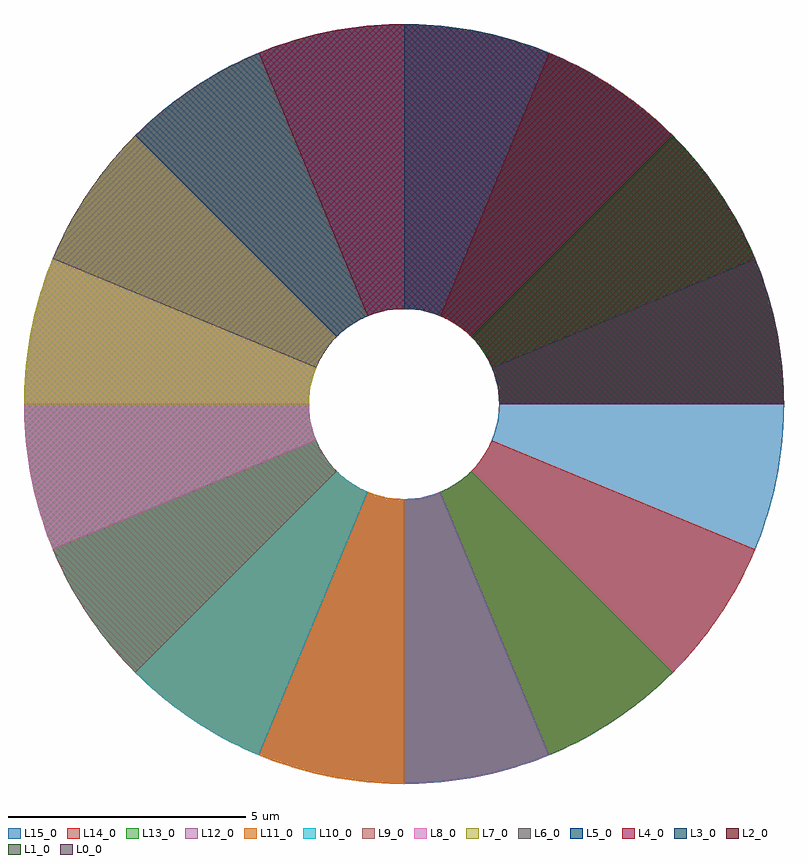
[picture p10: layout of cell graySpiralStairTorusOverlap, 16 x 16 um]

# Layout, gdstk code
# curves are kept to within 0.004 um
import gdstk
lib = gdstk.Library(unit=1e-6, precision=1e-09)
def P(c, l, *ps):  # polygons
    for p in ps: c.add(gdstk.Polygon(p, *l))
L0_0 = (0, 0)
L1_0 = (1, 0)
L2_0 = (2, 0)
L3_0 = (3, 0)
L4_0 = (4, 0)
L5_0 = (5, 0)
L6_0 = (6, 0)
L7_0 = (7, 0)
L8_0 = (8, 0)
L9_0 = (9, 0)
L10_0 = (10, 0)
L11_0 = (11, 0)
L12_0 = (12, 0)
L13_0 = (13, 0)
L14_0 = (14, 0)
L15_0 = (15, 0)

grayspiralstairtorusover = lib.new_cell('graySpiralStairTorusOverlap')
P(grayspiralstairtorusover, L0_0, [(2,0),(1.994,0.157),(1.962,0.39),(1.914,0.581),(1.848,0.765),(7.391,3.061),(7.506,2.769),(7.656,2.322),(7.779,1.868),(7.846,1.561),(7.925,1.096),(7.961,0.784),(7.994,0.314),(8,0)])
P(grayspiralstairtorusover, L1_0, [(2,0),(1.994,0.157),(1.962,0.39),(1.914,0.581),(1.848,0.765),(7.391,3.061),(7.506,2.769),(7.656,2.322),(7.779,1.868),(7.846,1.561),(7.925,1.096),(7.961,0.784),(7.994,0.314),(8,0)],
  [(1.848,0.765),(1.764,0.943),(1.641,1.144),(1.521,1.299),(1.414,1.414),(5.657,5.657),(5.875,5.43),(6.184,5.075),(6.379,4.828),(6.652,4.445),(6.902,4.045),(7.055,3.771),(7.198,3.491),(7.391,3.061)])
P(grayspiralstairtorusover, L2_0, [(2,0),(1.994,0.157),(1.962,0.39),(1.914,0.581),(1.848,0.765),(7.391,3.061),(7.506,2.769),(7.656,2.322),(7.779,1.868),(7.846,1.561),(7.925,1.096),(7.961,0.784),(7.994,0.314),(8,0)],
  [(1.848,0.765),(1.764,0.943),(1.641,1.144),(1.521,1.299),(1.414,1.414),(5.657,5.657),(5.875,5.43),(6.184,5.075),(6.379,4.828),(6.652,4.445),(6.902,4.045),(7.055,3.771),(7.198,3.491),(7.391,3.061)],
  [(1.414,1.414),(1.299,1.521),(1.144,1.641),(0.943,1.764),(0.765,1.848),(3.061,7.391),(3.491,7.198),(3.771,7.055),(4.045,6.902),(4.445,6.652),(4.828,6.379),(5.075,6.184),(5.43,5.875),(5.657,5.657)])
P(grayspiralstairtorusover, L3_0, [(2,0),(1.994,0.157),(1.962,0.39),(1.914,0.581),(1.848,0.765),(7.391,3.061),(7.506,2.769),(7.656,2.322),(7.779,1.868),(7.846,1.561),(7.925,1.096),(7.961,0.784),(7.994,0.314),(8,0)],
  [(1.848,0.765),(1.764,0.943),(1.641,1.144),(1.521,1.299),(1.414,1.414),(5.657,5.657),(5.875,5.43),(6.184,5.075),(6.379,4.828),(6.652,4.445),(6.902,4.045),(7.055,3.771),(7.198,3.491),(7.391,3.061)],
  [(1.414,1.414),(1.299,1.521),(1.144,1.641),(0.943,1.764),(0.765,1.848),(3.061,7.391),(3.491,7.198),(3.771,7.055),(4.045,6.902),(4.445,6.652),(4.828,6.379),(5.075,6.184),(5.43,5.875),(5.657,5.657)],
  [(0.765,1.848),(0.581,1.914),(0.39,1.962),(0.157,1.994),(0,2),(0,8),(0.314,7.994),(0.784,7.961),(1.096,7.925),(1.561,7.846),(1.868,7.779),(2.322,7.656),(2.769,7.506),(3.061,7.391)])
P(grayspiralstairtorusover, L4_0, [(2,0),(1.994,0.157),(1.962,0.39),(1.914,0.581),(1.848,0.765),(7.391,3.061),(7.506,2.769),(7.656,2.322),(7.779,1.868),(7.846,1.561),(7.925,1.096),(7.961,0.784),(7.994,0.314),(8,0)],
  [(1.848,0.765),(1.764,0.943),(1.641,1.144),(1.521,1.299),(1.414,1.414),(5.657,5.657),(5.875,5.43),(6.184,5.075),(6.379,4.828),(6.652,4.445),(6.902,4.045),(7.055,3.771),(7.198,3.491),(7.391,3.061)],
  [(1.414,1.414),(1.299,1.521),(1.144,1.641),(0.943,1.764),(0.765,1.848),(3.061,7.391),(3.491,7.198),(3.771,7.055),(4.045,6.902),(4.445,6.652),(4.828,6.379),(5.075,6.184),(5.43,5.875),(5.657,5.657)],
  [(0.765,1.848),(0.581,1.914),(0.39,1.962),(0.157,1.994),(0,2),(0,8),(0.314,7.994),(0.784,7.961),(1.096,7.925),(1.561,7.846),(1.868,7.779),(2.322,7.656),(2.769,7.506),(3.061,7.391)],
  [(-0.765,1.848),(-3.061,7.391),(-2.769,7.506),(-2.322,7.656),(-1.868,7.779),(-1.561,7.846),(-1.096,7.925),(-0.784,7.961),(-0.314,7.994),(0,8),(0,2),(-0.157,1.994),(-0.39,1.962),(-0.581,1.914)])
P(grayspiralstairtorusover, L5_0, [(2,0),(1.994,0.157),(1.962,0.39),(1.914,0.581),(1.848,0.765),(7.391,3.061),(7.506,2.769),(7.656,2.322),(7.779,1.868),(7.846,1.561),(7.925,1.096),(7.961,0.784),(7.994,0.314),(8,0)],
  [(1.848,0.765),(1.764,0.943),(1.641,1.144),(1.521,1.299),(1.414,1.414),(5.657,5.657),(5.875,5.43),(6.184,5.075),(6.379,4.828),(6.652,4.445),(6.902,4.045),(7.055,3.771),(7.198,3.491),(7.391,3.061)],
  [(1.414,1.414),(1.299,1.521),(1.144,1.641),(0.943,1.764),(0.765,1.848),(3.061,7.391),(3.491,7.198),(3.771,7.055),(4.045,6.902),(4.445,6.652),(4.828,6.379),(5.075,6.184),(5.43,5.875),(5.657,5.657)],
  [(0.765,1.848),(0.581,1.914),(0.39,1.962),(0.157,1.994),(0,2),(0,8),(0.314,7.994),(0.784,7.961),(1.096,7.925),(1.561,7.846),(1.868,7.779),(2.322,7.656),(2.769,7.506),(3.061,7.391)],
  [(-0.765,1.848),(-3.061,7.391),(-2.769,7.506),(-2.322,7.656),(-1.868,7.779),(-1.561,7.846),(-1.096,7.925),(-0.784,7.961),(-0.314,7.994),(0,8),(0,2),(-0.157,1.994),(-0.39,1.962),(-0.581,1.914)],
  [(-1.414,1.414),(-5.657,5.657),(-5.43,5.875),(-5.075,6.184),(-4.828,6.379),(-4.445,6.652),(-4.045,6.902),(-3.771,7.055),(-3.491,7.198),(-3.061,7.391),(-0.765,1.848),(-0.943,1.764),(-1.144,1.641),(-1.299,1.521)])
P(grayspiralstairtorusover, L6_0, [(2,0),(1.994,0.157),(1.962,0.39),(1.914,0.581),(1.848,0.765),(7.391,3.061),(7.506,2.769),(7.656,2.322),(7.779,1.868),(7.846,1.561),(7.925,1.096),(7.961,0.784),(7.994,0.314),(8,0)],
  [(1.848,0.765),(1.764,0.943),(1.641,1.144),(1.521,1.299),(1.414,1.414),(5.657,5.657),(5.875,5.43),(6.184,5.075),(6.379,4.828),(6.652,4.445),(6.902,4.045),(7.055,3.771),(7.198,3.491),(7.391,3.061)],
  [(1.414,1.414),(1.299,1.521),(1.144,1.641),(0.943,1.764),(0.765,1.848),(3.061,7.391),(3.491,7.198),(3.771,7.055),(4.045,6.902),(4.445,6.652),(4.828,6.379),(5.075,6.184),(5.43,5.875),(5.657,5.657)],
  [(0.765,1.848),(0.581,1.914),(0.39,1.962),(0.157,1.994),(0,2),(0,8),(0.314,7.994),(0.784,7.961),(1.096,7.925),(1.561,7.846),(1.868,7.779),(2.322,7.656),(2.769,7.506),(3.061,7.391)],
  [(-0.765,1.848),(-3.061,7.391),(-2.769,7.506),(-2.322,7.656),(-1.868,7.779),(-1.561,7.846),(-1.096,7.925),(-0.784,7.961),(-0.314,7.994),(0,8),(0,2),(-0.157,1.994),(-0.39,1.962),(-0.581,1.914)],
  [(-1.414,1.414),(-5.657,5.657),(-5.43,5.875),(-5.075,6.184),(-4.828,6.379),(-4.445,6.652),(-4.045,6.902),(-3.771,7.055),(-3.491,7.198),(-3.061,7.391),(-0.765,1.848),(-0.943,1.764),(-1.144,1.641),(-1.299,1.521)],
  [(-1.848,0.765),(-7.391,3.061),(-7.198,3.491),(-7.055,3.771),(-6.902,4.045),(-6.652,4.445),(-6.379,4.828),(-6.184,5.075),(-5.875,5.43),(-5.657,5.657),(-1.414,1.414),(-1.521,1.299),(-1.641,1.144),(-1.764,0.943)])
P(grayspiralstairtorusover, L7_0, [(2,0),(1.994,0.157),(1.962,0.39),(1.914,0.581),(1.848,0.765),(7.391,3.061),(7.506,2.769),(7.656,2.322),(7.779,1.868),(7.846,1.561),(7.925,1.096),(7.961,0.784),(7.994,0.314),(8,0)],
  [(1.848,0.765),(1.764,0.943),(1.641,1.144),(1.521,1.299),(1.414,1.414),(5.657,5.657),(5.875,5.43),(6.184,5.075),(6.379,4.828),(6.652,4.445),(6.902,4.045),(7.055,3.771),(7.198,3.491),(7.391,3.061)],
  [(1.414,1.414),(1.299,1.521),(1.144,1.641),(0.943,1.764),(0.765,1.848),(3.061,7.391),(3.491,7.198),(3.771,7.055),(4.045,6.902),(4.445,6.652),(4.828,6.379),(5.075,6.184),(5.43,5.875),(5.657,5.657)],
  [(0.765,1.848),(0.581,1.914),(0.39,1.962),(0.157,1.994),(0,2),(0,8),(0.314,7.994),(0.784,7.961),(1.096,7.925),(1.561,7.846),(1.868,7.779),(2.322,7.656),(2.769,7.506),(3.061,7.391)],
  [(-0.765,1.848),(-3.061,7.391),(-2.769,7.506),(-2.322,7.656),(-1.868,7.779),(-1.561,7.846),(-1.096,7.925),(-0.784,7.961),(-0.314,7.994),(0,8),(0,2),(-0.157,1.994),(-0.39,1.962),(-0.581,1.914)],
  [(-1.414,1.414),(-5.657,5.657),(-5.43,5.875),(-5.075,6.184),(-4.828,6.379),(-4.445,6.652),(-4.045,6.902),(-3.771,7.055),(-3.491,7.198),(-3.061,7.391),(-0.765,1.848),(-0.943,1.764),(-1.144,1.641),(-1.299,1.521)],
  [(-1.848,0.765),(-7.391,3.061),(-7.198,3.491),(-7.055,3.771),(-6.902,4.045),(-6.652,4.445),(-6.379,4.828),(-6.184,5.075),(-5.875,5.43),(-5.657,5.657),(-1.414,1.414),(-1.521,1.299),(-1.641,1.144),(-1.764,0.943)],
  [(-2,0),(-8,0),(-7.994,0.314),(-7.961,0.784),(-7.925,1.096),(-7.846,1.561),(-7.779,1.868),(-7.656,2.322),(-7.506,2.769),(-7.391,3.061),(-1.848,0.765),(-1.914,0.581),(-1.962,0.39),(-1.994,0.157)])
P(grayspiralstairtorusover, L8_0, [(2,0),(1.994,0.157),(1.962,0.39),(1.914,0.581),(1.848,0.765),(7.391,3.061),(7.506,2.769),(7.656,2.322),(7.779,1.868),(7.846,1.561),(7.925,1.096),(7.961,0.784),(7.994,0.314),(8,0)],
  [(1.848,0.765),(1.764,0.943),(1.641,1.144),(1.521,1.299),(1.414,1.414),(5.657,5.657),(5.875,5.43),(6.184,5.075),(6.379,4.828),(6.652,4.445),(6.902,4.045),(7.055,3.771),(7.198,3.491),(7.391,3.061)],
  [(1.414,1.414),(1.299,1.521),(1.144,1.641),(0.943,1.764),(0.765,1.848),(3.061,7.391),(3.491,7.198),(3.771,7.055),(4.045,6.902),(4.445,6.652),(4.828,6.379),(5.075,6.184),(5.43,5.875),(5.657,5.657)],
  [(0.765,1.848),(0.581,1.914),(0.39,1.962),(0.157,1.994),(0,2),(0,8),(0.314,7.994),(0.784,7.961),(1.096,7.925),(1.561,7.846),(1.868,7.779),(2.322,7.656),(2.769,7.506),(3.061,7.391)],
  [(-0.765,1.848),(-3.061,7.391),(-2.769,7.506),(-2.322,7.656),(-1.868,7.779),(-1.561,7.846),(-1.096,7.925),(-0.784,7.961),(-0.314,7.994),(0,8),(0,2),(-0.157,1.994),(-0.39,1.962),(-0.581,1.914)],
  [(-1.414,1.414),(-5.657,5.657),(-5.43,5.875),(-5.075,6.184),(-4.828,6.379),(-4.445,6.652),(-4.045,6.902),(-3.771,7.055),(-3.491,7.198),(-3.061,7.391),(-0.765,1.848),(-0.943,1.764),(-1.144,1.641),(-1.299,1.521)],
  [(-1.848,0.765),(-7.391,3.061),(-7.198,3.491),(-7.055,3.771),(-6.902,4.045),(-6.652,4.445),(-6.379,4.828),(-6.184,5.075),(-5.875,5.43),(-5.657,5.657),(-1.414,1.414),(-1.521,1.299),(-1.641,1.144),(-1.764,0.943)],
  [(-2,0),(-8,0),(-7.994,0.314),(-7.961,0.784),(-7.925,1.096),(-7.846,1.561),(-7.779,1.868),(-7.656,2.322),(-7.506,2.769),(-7.391,3.061),(-1.848,0.765),(-1.914,0.581),(-1.962,0.39),(-1.994,0.157)],
  [(-7.391,-3.061),(-7.506,-2.769),(-7.656,-2.322),(-7.779,-1.868),(-7.846,-1.561),(-7.925,-1.096),(-7.961,-0.784),(-7.994,-0.314),(-8,0),(-2,0),(-1.994,-0.157),(-1.962,-0.39),(-1.914,-0.581),(-1.848,-0.765)])
P(grayspiralstairtorusover, L9_0, [(2,0),(1.994,0.157),(1.962,0.39),(1.914,0.581),(1.848,0.765),(7.391,3.061),(7.506,2.769),(7.656,2.322),(7.779,1.868),(7.846,1.561),(7.925,1.096),(7.961,0.784),(7.994,0.314),(8,0)],
  [(1.848,0.765),(1.764,0.943),(1.641,1.144),(1.521,1.299),(1.414,1.414),(5.657,5.657),(5.875,5.43),(6.184,5.075),(6.379,4.828),(6.652,4.445),(6.902,4.045),(7.055,3.771),(7.198,3.491),(7.391,3.061)],
  [(1.414,1.414),(1.299,1.521),(1.144,1.641),(0.943,1.764),(0.765,1.848),(3.061,7.391),(3.491,7.198),(3.771,7.055),(4.045,6.902),(4.445,6.652),(4.828,6.379),(5.075,6.184),(5.43,5.875),(5.657,5.657)],
  [(0.765,1.848),(0.581,1.914),(0.39,1.962),(0.157,1.994),(0,2),(0,8),(0.314,7.994),(0.784,7.961),(1.096,7.925),(1.561,7.846),(1.868,7.779),(2.322,7.656),(2.769,7.506),(3.061,7.391)],
  [(-0.765,1.848),(-3.061,7.391),(-2.769,7.506),(-2.322,7.656),(-1.868,7.779),(-1.561,7.846),(-1.096,7.925),(-0.784,7.961),(-0.314,7.994),(0,8),(0,2),(-0.157,1.994),(-0.39,1.962),(-0.581,1.914)],
  [(-1.414,1.414),(-5.657,5.657),(-5.43,5.875),(-5.075,6.184),(-4.828,6.379),(-4.445,6.652),(-4.045,6.902),(-3.771,7.055),(-3.491,7.198),(-3.061,7.391),(-0.765,1.848),(-0.943,1.764),(-1.144,1.641),(-1.299,1.521)],
  [(-1.848,0.765),(-7.391,3.061),(-7.198,3.491),(-7.055,3.771),(-6.902,4.045),(-6.652,4.445),(-6.379,4.828),(-6.184,5.075),(-5.875,5.43),(-5.657,5.657),(-1.414,1.414),(-1.521,1.299),(-1.641,1.144),(-1.764,0.943)],
  [(-2,0),(-8,0),(-7.994,0.314),(-7.961,0.784),(-7.925,1.096),(-7.846,1.561),(-7.779,1.868),(-7.656,2.322),(-7.506,2.769),(-7.391,3.061),(-1.848,0.765),(-1.914,0.581),(-1.962,0.39),(-1.994,0.157)],
  [(-7.391,-3.061),(-7.506,-2.769),(-7.656,-2.322),(-7.779,-1.868),(-7.846,-1.561),(-7.925,-1.096),(-7.961,-0.784),(-7.994,-0.314),(-8,0),(-2,0),(-1.994,-0.157),(-1.962,-0.39),(-1.914,-0.581),(-1.848,-0.765)],
  [(-5.657,-5.657),(-5.875,-5.43),(-6.184,-5.075),(-6.379,-4.828),(-6.652,-4.445),(-6.902,-4.045),(-7.055,-3.771),(-7.198,-3.491),(-7.391,-3.061),(-1.848,-0.765),(-1.764,-0.943),(-1.641,-1.144),(-1.521,-1.299),(-1.414,-1.414)])
P(grayspiralstairtorusover, L10_0, [(2,0),(1.994,0.157),(1.962,0.39),(1.914,0.581),(1.848,0.765),(7.391,3.061),(7.506,2.769),(7.656,2.322),(7.779,1.868),(7.846,1.561),(7.925,1.096),(7.961,0.784),(7.994,0.314),(8,0)],
  [(1.848,0.765),(1.764,0.943),(1.641,1.144),(1.521,1.299),(1.414,1.414),(5.657,5.657),(5.875,5.43),(6.184,5.075),(6.379,4.828),(6.652,4.445),(6.902,4.045),(7.055,3.771),(7.198,3.491),(7.391,3.061)],
  [(1.414,1.414),(1.299,1.521),(1.144,1.641),(0.943,1.764),(0.765,1.848),(3.061,7.391),(3.491,7.198),(3.771,7.055),(4.045,6.902),(4.445,6.652),(4.828,6.379),(5.075,6.184),(5.43,5.875),(5.657,5.657)],
  [(0.765,1.848),(0.581,1.914),(0.39,1.962),(0.157,1.994),(0,2),(0,8),(0.314,7.994),(0.784,7.961),(1.096,7.925),(1.561,7.846),(1.868,7.779),(2.322,7.656),(2.769,7.506),(3.061,7.391)],
  [(-0.765,1.848),(-3.061,7.391),(-2.769,7.506),(-2.322,7.656),(-1.868,7.779),(-1.561,7.846),(-1.096,7.925),(-0.784,7.961),(-0.314,7.994),(0,8),(0,2),(-0.157,1.994),(-0.39,1.962),(-0.581,1.914)],
  [(-1.414,1.414),(-5.657,5.657),(-5.43,5.875),(-5.075,6.184),(-4.828,6.379),(-4.445,6.652),(-4.045,6.902),(-3.771,7.055),(-3.491,7.198),(-3.061,7.391),(-0.765,1.848),(-0.943,1.764),(-1.144,1.641),(-1.299,1.521)],
  [(-1.848,0.765),(-7.391,3.061),(-7.198,3.491),(-7.055,3.771),(-6.902,4.045),(-6.652,4.445),(-6.379,4.828),(-6.184,5.075),(-5.875,5.43),(-5.657,5.657),(-1.414,1.414),(-1.521,1.299),(-1.641,1.144),(-1.764,0.943)],
  [(-2,0),(-8,0),(-7.994,0.314),(-7.961,0.784),(-7.925,1.096),(-7.846,1.561),(-7.779,1.868),(-7.656,2.322),(-7.506,2.769),(-7.391,3.061),(-1.848,0.765),(-1.914,0.581),(-1.962,0.39),(-1.994,0.157)],
  [(-7.391,-3.061),(-7.506,-2.769),(-7.656,-2.322),(-7.779,-1.868),(-7.846,-1.561),(-7.925,-1.096),(-7.961,-0.784),(-7.994,-0.314),(-8,0),(-2,0),(-1.994,-0.157),(-1.962,-0.39),(-1.914,-0.581),(-1.848,-0.765)],
  [(-5.657,-5.657),(-5.875,-5.43),(-6.184,-5.075),(-6.379,-4.828),(-6.652,-4.445),(-6.902,-4.045),(-7.055,-3.771),(-7.198,-3.491),(-7.391,-3.061),(-1.848,-0.765),(-1.764,-0.943),(-1.641,-1.144),(-1.521,-1.299),(-1.414,-1.414)],
  [(-3.061,-7.391),(-3.491,-7.198),(-3.771,-7.055),(-4.045,-6.902),(-4.445,-6.652),(-4.828,-6.379),(-5.075,-6.184),(-5.43,-5.875),(-5.657,-5.657),(-1.414,-1.414),(-1.299,-1.521),(-1.144,-1.641),(-0.943,-1.764),(-0.765,-1.848)])
P(grayspiralstairtorusover, L11_0, [(2,0),(1.994,0.157),(1.962,0.39),(1.914,0.581),(1.848,0.765),(7.391,3.061),(7.506,2.769),(7.656,2.322),(7.779,1.868),(7.846,1.561),(7.925,1.096),(7.961,0.784),(7.994,0.314),(8,0)],
  [(1.848,0.765),(1.764,0.943),(1.641,1.144),(1.521,1.299),(1.414,1.414),(5.657,5.657),(5.875,5.43),(6.184,5.075),(6.379,4.828),(6.652,4.445),(6.902,4.045),(7.055,3.771),(7.198,3.491),(7.391,3.061)],
  [(1.414,1.414),(1.299,1.521),(1.144,1.641),(0.943,1.764),(0.765,1.848),(3.061,7.391),(3.491,7.198),(3.771,7.055),(4.045,6.902),(4.445,6.652),(4.828,6.379),(5.075,6.184),(5.43,5.875),(5.657,5.657)],
  [(0.765,1.848),(0.581,1.914),(0.39,1.962),(0.157,1.994),(0,2),(0,8),(0.314,7.994),(0.784,7.961),(1.096,7.925),(1.561,7.846),(1.868,7.779),(2.322,7.656),(2.769,7.506),(3.061,7.391)],
  [(-0.765,1.848),(-3.061,7.391),(-2.769,7.506),(-2.322,7.656),(-1.868,7.779),(-1.561,7.846),(-1.096,7.925),(-0.784,7.961),(-0.314,7.994),(0,8),(0,2),(-0.157,1.994),(-0.39,1.962),(-0.581,1.914)],
  [(-1.414,1.414),(-5.657,5.657),(-5.43,5.875),(-5.075,6.184),(-4.828,6.379),(-4.445,6.652),(-4.045,6.902),(-3.771,7.055),(-3.491,7.198),(-3.061,7.391),(-0.765,1.848),(-0.943,1.764),(-1.144,1.641),(-1.299,1.521)],
  [(-1.848,0.765),(-7.391,3.061),(-7.198,3.491),(-7.055,3.771),(-6.902,4.045),(-6.652,4.445),(-6.379,4.828),(-6.184,5.075),(-5.875,5.43),(-5.657,5.657),(-1.414,1.414),(-1.521,1.299),(-1.641,1.144),(-1.764,0.943)],
  [(-2,0),(-8,0),(-7.994,0.314),(-7.961,0.784),(-7.925,1.096),(-7.846,1.561),(-7.779,1.868),(-7.656,2.322),(-7.506,2.769),(-7.391,3.061),(-1.848,0.765),(-1.914,0.581),(-1.962,0.39),(-1.994,0.157)],
  [(-7.391,-3.061),(-7.506,-2.769),(-7.656,-2.322),(-7.779,-1.868),(-7.846,-1.561),(-7.925,-1.096),(-7.961,-0.784),(-7.994,-0.314),(-8,0),(-2,0),(-1.994,-0.157),(-1.962,-0.39),(-1.914,-0.581),(-1.848,-0.765)],
  [(-5.657,-5.657),(-5.875,-5.43),(-6.184,-5.075),(-6.379,-4.828),(-6.652,-4.445),(-6.902,-4.045),(-7.055,-3.771),(-7.198,-3.491),(-7.391,-3.061),(-1.848,-0.765),(-1.764,-0.943),(-1.641,-1.144),(-1.521,-1.299),(-1.414,-1.414)],
  [(-3.061,-7.391),(-3.491,-7.198),(-3.771,-7.055),(-4.045,-6.902),(-4.445,-6.652),(-4.828,-6.379),(-5.075,-6.184),(-5.43,-5.875),(-5.657,-5.657),(-1.414,-1.414),(-1.299,-1.521),(-1.144,-1.641),(-0.943,-1.764),(-0.765,-1.848)],
  [(0,-8),(-0.314,-7.994),(-0.784,-7.961),(-1.096,-7.925),(-1.561,-7.846),(-1.868,-7.779),(-2.322,-7.656),(-2.769,-7.506),(-3.061,-7.391),(-0.765,-1.848),(-0.581,-1.914),(-0.39,-1.962),(-0.157,-1.994),(0,-2)])
P(grayspiralstairtorusover, L12_0, [(2,0),(1.994,0.157),(1.962,0.39),(1.914,0.581),(1.848,0.765),(7.391,3.061),(7.506,2.769),(7.656,2.322),(7.779,1.868),(7.846,1.561),(7.925,1.096),(7.961,0.784),(7.994,0.314),(8,0)],
  [(1.848,0.765),(1.764,0.943),(1.641,1.144),(1.521,1.299),(1.414,1.414),(5.657,5.657),(5.875,5.43),(6.184,5.075),(6.379,4.828),(6.652,4.445),(6.902,4.045),(7.055,3.771),(7.198,3.491),(7.391,3.061)],
  [(1.414,1.414),(1.299,1.521),(1.144,1.641),(0.943,1.764),(0.765,1.848),(3.061,7.391),(3.491,7.198),(3.771,7.055),(4.045,6.902),(4.445,6.652),(4.828,6.379),(5.075,6.184),(5.43,5.875),(5.657,5.657)],
  [(0.765,1.848),(0.581,1.914),(0.39,1.962),(0.157,1.994),(0,2),(0,8),(0.314,7.994),(0.784,7.961),(1.096,7.925),(1.561,7.846),(1.868,7.779),(2.322,7.656),(2.769,7.506),(3.061,7.391)],
  [(-0.765,1.848),(-3.061,7.391),(-2.769,7.506),(-2.322,7.656),(-1.868,7.779),(-1.561,7.846),(-1.096,7.925),(-0.784,7.961),(-0.314,7.994),(0,8),(0,2),(-0.157,1.994),(-0.39,1.962),(-0.581,1.914)],
  [(-1.414,1.414),(-5.657,5.657),(-5.43,5.875),(-5.075,6.184),(-4.828,6.379),(-4.445,6.652),(-4.045,6.902),(-3.771,7.055),(-3.491,7.198),(-3.061,7.391),(-0.765,1.848),(-0.943,1.764),(-1.144,1.641),(-1.299,1.521)],
  [(-1.848,0.765),(-7.391,3.061),(-7.198,3.491),(-7.055,3.771),(-6.902,4.045),(-6.652,4.445),(-6.379,4.828),(-6.184,5.075),(-5.875,5.43),(-5.657,5.657),(-1.414,1.414),(-1.521,1.299),(-1.641,1.144),(-1.764,0.943)],
  [(-2,0),(-8,0),(-7.994,0.314),(-7.961,0.784),(-7.925,1.096),(-7.846,1.561),(-7.779,1.868),(-7.656,2.322),(-7.506,2.769),(-7.391,3.061),(-1.848,0.765),(-1.914,0.581),(-1.962,0.39),(-1.994,0.157)],
  [(-7.391,-3.061),(-7.506,-2.769),(-7.656,-2.322),(-7.779,-1.868),(-7.846,-1.561),(-7.925,-1.096),(-7.961,-0.784),(-7.994,-0.314),(-8,0),(-2,0),(-1.994,-0.157),(-1.962,-0.39),(-1.914,-0.581),(-1.848,-0.765)],
  [(-5.657,-5.657),(-5.875,-5.43),(-6.184,-5.075),(-6.379,-4.828),(-6.652,-4.445),(-6.902,-4.045),(-7.055,-3.771),(-7.198,-3.491),(-7.391,-3.061),(-1.848,-0.765),(-1.764,-0.943),(-1.641,-1.144),(-1.521,-1.299),(-1.414,-1.414)],
  [(-3.061,-7.391),(-3.491,-7.198),(-3.771,-7.055),(-4.045,-6.902),(-4.445,-6.652),(-4.828,-6.379),(-5.075,-6.184),(-5.43,-5.875),(-5.657,-5.657),(-1.414,-1.414),(-1.299,-1.521),(-1.144,-1.641),(-0.943,-1.764),(-0.765,-1.848)],
  [(0,-8),(-0.314,-7.994),(-0.784,-7.961),(-1.096,-7.925),(-1.561,-7.846),(-1.868,-7.779),(-2.322,-7.656),(-2.769,-7.506),(-3.061,-7.391),(-0.765,-1.848),(-0.581,-1.914),(-0.39,-1.962),(-0.157,-1.994),(0,-2)],
  [(0,-8),(0,-2),(0.157,-1.994),(0.39,-1.962),(0.581,-1.914),(0.765,-1.848),(3.061,-7.391),(2.769,-7.506),(2.322,-7.656),(1.868,-7.779),(1.561,-7.846),(1.096,-7.925),(0.784,-7.961),(0.314,-7.994)])
P(grayspiralstairtorusover, L13_0, [(2,0),(1.994,0.157),(1.962,0.39),(1.914,0.581),(1.848,0.765),(7.391,3.061),(7.506,2.769),(7.656,2.322),(7.779,1.868),(7.846,1.561),(7.925,1.096),(7.961,0.784),(7.994,0.314),(8,0)],
  [(1.848,0.765),(1.764,0.943),(1.641,1.144),(1.521,1.299),(1.414,1.414),(5.657,5.657),(5.875,5.43),(6.184,5.075),(6.379,4.828),(6.652,4.445),(6.902,4.045),(7.055,3.771),(7.198,3.491),(7.391,3.061)],
  [(1.414,1.414),(1.299,1.521),(1.144,1.641),(0.943,1.764),(0.765,1.848),(3.061,7.391),(3.491,7.198),(3.771,7.055),(4.045,6.902),(4.445,6.652),(4.828,6.379),(5.075,6.184),(5.43,5.875),(5.657,5.657)],
  [(0.765,1.848),(0.581,1.914),(0.39,1.962),(0.157,1.994),(0,2),(0,8),(0.314,7.994),(0.784,7.961),(1.096,7.925),(1.561,7.846),(1.868,7.779),(2.322,7.656),(2.769,7.506),(3.061,7.391)],
  [(-0.765,1.848),(-3.061,7.391),(-2.769,7.506),(-2.322,7.656),(-1.868,7.779),(-1.561,7.846),(-1.096,7.925),(-0.784,7.961),(-0.314,7.994),(0,8),(0,2),(-0.157,1.994),(-0.39,1.962),(-0.581,1.914)],
  [(-1.414,1.414),(-5.657,5.657),(-5.43,5.875),(-5.075,6.184),(-4.828,6.379),(-4.445,6.652),(-4.045,6.902),(-3.771,7.055),(-3.491,7.198),(-3.061,7.391),(-0.765,1.848),(-0.943,1.764),(-1.144,1.641),(-1.299,1.521)],
  [(-1.848,0.765),(-7.391,3.061),(-7.198,3.491),(-7.055,3.771),(-6.902,4.045),(-6.652,4.445),(-6.379,4.828),(-6.184,5.075),(-5.875,5.43),(-5.657,5.657),(-1.414,1.414),(-1.521,1.299),(-1.641,1.144),(-1.764,0.943)],
  [(-2,0),(-8,0),(-7.994,0.314),(-7.961,0.784),(-7.925,1.096),(-7.846,1.561),(-7.779,1.868),(-7.656,2.322),(-7.506,2.769),(-7.391,3.061),(-1.848,0.765),(-1.914,0.581),(-1.962,0.39),(-1.994,0.157)],
  [(-7.391,-3.061),(-7.506,-2.769),(-7.656,-2.322),(-7.779,-1.868),(-7.846,-1.561),(-7.925,-1.096),(-7.961,-0.784),(-7.994,-0.314),(-8,0),(-2,0),(-1.994,-0.157),(-1.962,-0.39),(-1.914,-0.581),(-1.848,-0.765)],
  [(-5.657,-5.657),(-5.875,-5.43),(-6.184,-5.075),(-6.379,-4.828),(-6.652,-4.445),(-6.902,-4.045),(-7.055,-3.771),(-7.198,-3.491),(-7.391,-3.061),(-1.848,-0.765),(-1.764,-0.943),(-1.641,-1.144),(-1.521,-1.299),(-1.414,-1.414)],
  [(-3.061,-7.391),(-3.491,-7.198),(-3.771,-7.055),(-4.045,-6.902),(-4.445,-6.652),(-4.828,-6.379),(-5.075,-6.184),(-5.43,-5.875),(-5.657,-5.657),(-1.414,-1.414),(-1.299,-1.521),(-1.144,-1.641),(-0.943,-1.764),(-0.765,-1.848)],
  [(0,-8),(-0.314,-7.994),(-0.784,-7.961),(-1.096,-7.925),(-1.561,-7.846),(-1.868,-7.779),(-2.322,-7.656),(-2.769,-7.506),(-3.061,-7.391),(-0.765,-1.848),(-0.581,-1.914),(-0.39,-1.962),(-0.157,-1.994),(0,-2)],
  [(0,-8),(0,-2),(0.157,-1.994),(0.39,-1.962),(0.581,-1.914),(0.765,-1.848),(3.061,-7.391),(2.769,-7.506),(2.322,-7.656),(1.868,-7.779),(1.561,-7.846),(1.096,-7.925),(0.784,-7.961),(0.314,-7.994)],
  [(3.061,-7.391),(0.765,-1.848),(0.943,-1.764),(1.144,-1.641),(1.299,-1.521),(1.414,-1.414),(5.657,-5.657),(5.43,-5.875),(5.075,-6.184),(4.828,-6.379),(4.445,-6.652),(4.045,-6.902),(3.771,-7.055),(3.491,-7.198)])
P(grayspiralstairtorusover, L14_0, [(2,0),(1.994,0.157),(1.962,0.39),(1.914,0.581),(1.848,0.765),(7.391,3.061),(7.506,2.769),(7.656,2.322),(7.779,1.868),(7.846,1.561),(7.925,1.096),(7.961,0.784),(7.994,0.314),(8,0)],
  [(1.848,0.765),(1.764,0.943),(1.641,1.144),(1.521,1.299),(1.414,1.414),(5.657,5.657),(5.875,5.43),(6.184,5.075),(6.379,4.828),(6.652,4.445),(6.902,4.045),(7.055,3.771),(7.198,3.491),(7.391,3.061)],
  [(1.414,1.414),(1.299,1.521),(1.144,1.641),(0.943,1.764),(0.765,1.848),(3.061,7.391),(3.491,7.198),(3.771,7.055),(4.045,6.902),(4.445,6.652),(4.828,6.379),(5.075,6.184),(5.43,5.875),(5.657,5.657)],
  [(0.765,1.848),(0.581,1.914),(0.39,1.962),(0.157,1.994),(0,2),(0,8),(0.314,7.994),(0.784,7.961),(1.096,7.925),(1.561,7.846),(1.868,7.779),(2.322,7.656),(2.769,7.506),(3.061,7.391)],
  [(-0.765,1.848),(-3.061,7.391),(-2.769,7.506),(-2.322,7.656),(-1.868,7.779),(-1.561,7.846),(-1.096,7.925),(-0.784,7.961),(-0.314,7.994),(0,8),(0,2),(-0.157,1.994),(-0.39,1.962),(-0.581,1.914)],
  [(-1.414,1.414),(-5.657,5.657),(-5.43,5.875),(-5.075,6.184),(-4.828,6.379),(-4.445,6.652),(-4.045,6.902),(-3.771,7.055),(-3.491,7.198),(-3.061,7.391),(-0.765,1.848),(-0.943,1.764),(-1.144,1.641),(-1.299,1.521)],
  [(-1.848,0.765),(-7.391,3.061),(-7.198,3.491),(-7.055,3.771),(-6.902,4.045),(-6.652,4.445),(-6.379,4.828),(-6.184,5.075),(-5.875,5.43),(-5.657,5.657),(-1.414,1.414),(-1.521,1.299),(-1.641,1.144),(-1.764,0.943)],
  [(-2,0),(-8,0),(-7.994,0.314),(-7.961,0.784),(-7.925,1.096),(-7.846,1.561),(-7.779,1.868),(-7.656,2.322),(-7.506,2.769),(-7.391,3.061),(-1.848,0.765),(-1.914,0.581),(-1.962,0.39),(-1.994,0.157)],
  [(-7.391,-3.061),(-7.506,-2.769),(-7.656,-2.322),(-7.779,-1.868),(-7.846,-1.561),(-7.925,-1.096),(-7.961,-0.784),(-7.994,-0.314),(-8,0),(-2,0),(-1.994,-0.157),(-1.962,-0.39),(-1.914,-0.581),(-1.848,-0.765)],
  [(-5.657,-5.657),(-5.875,-5.43),(-6.184,-5.075),(-6.379,-4.828),(-6.652,-4.445),(-6.902,-4.045),(-7.055,-3.771),(-7.198,-3.491),(-7.391,-3.061),(-1.848,-0.765),(-1.764,-0.943),(-1.641,-1.144),(-1.521,-1.299),(-1.414,-1.414)],
  [(-3.061,-7.391),(-3.491,-7.198),(-3.771,-7.055),(-4.045,-6.902),(-4.445,-6.652),(-4.828,-6.379),(-5.075,-6.184),(-5.43,-5.875),(-5.657,-5.657),(-1.414,-1.414),(-1.299,-1.521),(-1.144,-1.641),(-0.943,-1.764),(-0.765,-1.848)],
  [(0,-8),(-0.314,-7.994),(-0.784,-7.961),(-1.096,-7.925),(-1.561,-7.846),(-1.868,-7.779),(-2.322,-7.656),(-2.769,-7.506),(-3.061,-7.391),(-0.765,-1.848),(-0.581,-1.914),(-0.39,-1.962),(-0.157,-1.994),(0,-2)],
  [(0,-8),(0,-2),(0.157,-1.994),(0.39,-1.962),(0.581,-1.914),(0.765,-1.848),(3.061,-7.391),(2.769,-7.506),(2.322,-7.656),(1.868,-7.779),(1.561,-7.846),(1.096,-7.925),(0.784,-7.961),(0.314,-7.994)],
  [(3.061,-7.391),(0.765,-1.848),(0.943,-1.764),(1.144,-1.641),(1.299,-1.521),(1.414,-1.414),(5.657,-5.657),(5.43,-5.875),(5.075,-6.184),(4.828,-6.379),(4.445,-6.652),(4.045,-6.902),(3.771,-7.055),(3.491,-7.198)],
  [(5.657,-5.657),(1.414,-1.414),(1.521,-1.299),(1.641,-1.144),(1.764,-0.943),(1.848,-0.765),(7.391,-3.061),(7.198,-3.491),(7.055,-3.771),(6.902,-4.045),(6.652,-4.445),(6.379,-4.828),(6.184,-5.075),(5.875,-5.43)])
P(grayspiralstairtorusover, L15_0, [(2,0),(1.994,0.157),(1.962,0.39),(1.914,0.581),(1.848,0.765),(7.391,3.061),(7.506,2.769),(7.656,2.322),(7.779,1.868),(7.846,1.561),(7.925,1.096),(7.961,0.784),(7.994,0.314),(8,0)],
  [(1.848,0.765),(1.764,0.943),(1.641,1.144),(1.521,1.299),(1.414,1.414),(5.657,5.657),(5.875,5.43),(6.184,5.075),(6.379,4.828),(6.652,4.445),(6.902,4.045),(7.055,3.771),(7.198,3.491),(7.391,3.061)],
  [(1.414,1.414),(1.299,1.521),(1.144,1.641),(0.943,1.764),(0.765,1.848),(3.061,7.391),(3.491,7.198),(3.771,7.055),(4.045,6.902),(4.445,6.652),(4.828,6.379),(5.075,6.184),(5.43,5.875),(5.657,5.657)],
  [(0.765,1.848),(0.581,1.914),(0.39,1.962),(0.157,1.994),(0,2),(0,8),(0.314,7.994),(0.784,7.961),(1.096,7.925),(1.561,7.846),(1.868,7.779),(2.322,7.656),(2.769,7.506),(3.061,7.391)],
  [(-0.765,1.848),(-3.061,7.391),(-2.769,7.506),(-2.322,7.656),(-1.868,7.779),(-1.561,7.846),(-1.096,7.925),(-0.784,7.961),(-0.314,7.994),(0,8),(0,2),(-0.157,1.994),(-0.39,1.962),(-0.581,1.914)],
  [(-1.414,1.414),(-5.657,5.657),(-5.43,5.875),(-5.075,6.184),(-4.828,6.379),(-4.445,6.652),(-4.045,6.902),(-3.771,7.055),(-3.491,7.198),(-3.061,7.391),(-0.765,1.848),(-0.943,1.764),(-1.144,1.641),(-1.299,1.521)],
  [(-1.848,0.765),(-7.391,3.061),(-7.198,3.491),(-7.055,3.771),(-6.902,4.045),(-6.652,4.445),(-6.379,4.828),(-6.184,5.075),(-5.875,5.43),(-5.657,5.657),(-1.414,1.414),(-1.521,1.299),(-1.641,1.144),(-1.764,0.943)],
  [(-2,0),(-8,0),(-7.994,0.314),(-7.961,0.784),(-7.925,1.096),(-7.846,1.561),(-7.779,1.868),(-7.656,2.322),(-7.506,2.769),(-7.391,3.061),(-1.848,0.765),(-1.914,0.581),(-1.962,0.39),(-1.994,0.157)],
  [(-7.391,-3.061),(-7.506,-2.769),(-7.656,-2.322),(-7.779,-1.868),(-7.846,-1.561),(-7.925,-1.096),(-7.961,-0.784),(-7.994,-0.314),(-8,0),(-2,0),(-1.994,-0.157),(-1.962,-0.39),(-1.914,-0.581),(-1.848,-0.765)],
  [(-5.657,-5.657),(-5.875,-5.43),(-6.184,-5.075),(-6.379,-4.828),(-6.652,-4.445),(-6.902,-4.045),(-7.055,-3.771),(-7.198,-3.491),(-7.391,-3.061),(-1.848,-0.765),(-1.764,-0.943),(-1.641,-1.144),(-1.521,-1.299),(-1.414,-1.414)],
  [(-3.061,-7.391),(-3.491,-7.198),(-3.771,-7.055),(-4.045,-6.902),(-4.445,-6.652),(-4.828,-6.379),(-5.075,-6.184),(-5.43,-5.875),(-5.657,-5.657),(-1.414,-1.414),(-1.299,-1.521),(-1.144,-1.641),(-0.943,-1.764),(-0.765,-1.848)],
  [(0,-8),(-0.314,-7.994),(-0.784,-7.961),(-1.096,-7.925),(-1.561,-7.846),(-1.868,-7.779),(-2.322,-7.656),(-2.769,-7.506),(-3.061,-7.391),(-0.765,-1.848),(-0.581,-1.914),(-0.39,-1.962),(-0.157,-1.994),(0,-2)],
  [(0,-8),(0,-2),(0.157,-1.994),(0.39,-1.962),(0.581,-1.914),(0.765,-1.848),(3.061,-7.391),(2.769,-7.506),(2.322,-7.656),(1.868,-7.779),(1.561,-7.846),(1.096,-7.925),(0.784,-7.961),(0.314,-7.994)],
  [(3.061,-7.391),(0.765,-1.848),(0.943,-1.764),(1.144,-1.641),(1.299,-1.521),(1.414,-1.414),(5.657,-5.657),(5.43,-5.875),(5.075,-6.184),(4.828,-6.379),(4.445,-6.652),(4.045,-6.902),(3.771,-7.055),(3.491,-7.198)],
  [(5.657,-5.657),(1.414,-1.414),(1.521,-1.299),(1.641,-1.144),(1.764,-0.943),(1.848,-0.765),(7.391,-3.061),(7.198,-3.491),(7.055,-3.771),(6.902,-4.045),(6.652,-4.445),(6.379,-4.828),(6.184,-5.075),(5.875,-5.43)],
  [(7.391,-3.061),(1.848,-0.765),(1.914,-0.581),(1.962,-0.39),(1.994,-0.157),(2,0),(8,0),(7.994,-0.314),(7.961,-0.784),(7.925,-1.096),(7.846,-1.561),(7.779,-1.868),(7.656,-2.322),(7.506,-2.769)])

lib.write_gds('graySpiralStairTorusOverlap.gds')
